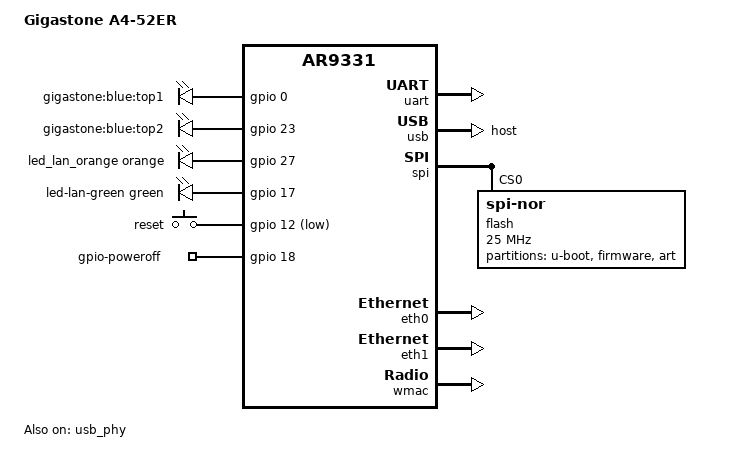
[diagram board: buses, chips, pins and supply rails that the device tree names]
// SPDX-License-Identifier: GPL-2.0-only
/dts-v1/;

#include "ar9331.dtsi"

#include <dt-bindings/gpio/gpio.h>
#include <dt-bindings/input/input.h>
#include <dt-bindings/leds/common.h>

/ {
	model = "Gigastone A4-52ER";
	compatible = "gigastone,a4-52er", "qca,ar9331";

	aliases {
		serial0 = &uart;
		led-boot = &system;
		led-failsafe = &system;
		led-running = &system;
		led-upgrade = &system;
		label-mac-device = &eth0;
	};

	/*
	 * E2-quiet experiment (2026-07-11) CONCLUDED: console=null image still
	 * died in the cold-boot retry loop -> kernel console activity is NOT the
	 * power-latch trigger (death happens <1s into U-Boot, long before the
	 * kernel). Serial console restored for USB-TTL debugging.
	 */

	/*
	 * GPIO0/23 polarity boot-verified 2026-07-11 (blue2 blinks as led-boot,
	 * steady when running). GPIO17/27 are the RJ45 jack LEDs.
	 * 2026-07-23 live-verified on hardware: both jack LEDs are ACTIVE_HIGH
	 * (brightness=1 under the old active-low modelling turned them OFF) —
	 * the earlier "pepe2k LED_ACT_L" assumption was wrong. Modern
	 * color/function naming (sysfs green:lan / orange:lan) so the
	 * 04_led_migration prefix-strip (remove_devicename_leds) matches the
	 * 01_leds trigger config. Triggers bind to eth1 (physical jack; its
	 * carrier follows the cable — eth0 is the always-up CPU/switch link,
	 * and br-lan inherits that, which is why br-lan binding never went off).
	 */
	leds {
		compatible = "gpio-leds";

		blue1 {
			label = "gigastone:blue:top1";
			gpios = <&gpio 0 GPIO_ACTIVE_HIGH>;
		};

		system: blue2 {
			label = "gigastone:blue:top2";
			gpios = <&gpio 23 GPIO_ACTIVE_HIGH>;
		};

		led_lan_orange: led-lan-orange {
			color = <LED_COLOR_ID_ORANGE>;
			function = LED_FUNCTION_LAN;
			gpios = <&gpio 27 GPIO_ACTIVE_HIGH>;
		};

		led-lan-green {
			color = <LED_COLOR_ID_GREEN>;
			function = LED_FUNCTION_LAN;
			gpios = <&gpio 17 GPIO_ACTIVE_HIGH>;
		};
	};

	keys {
		compatible = "gpio-keys";

		button0 {
			label = "reset";
			linux,code = <KEY_RESTART>;
			gpios = <&gpio 12 GPIO_ACTIVE_LOW>;
			debounce-interval = <60>;
		};
	};

	/*
	 * GPIO18 = power-MCU line, polarity live-verified 2026-07-11 via sysfs:
	 * LOW = keep-alive (mandatory; the MCU cuts power ~1s after cold
	 * power-on otherwise), HIGH = immediate power-off. U-Boot asserts it LOW
	 * at init (pepe2k OUT_INIT_L patch); this node makes the kernel claim it
	 * output-low too and gives userspace a working `poweroff`.
	 */
	gpio-poweroff {
		compatible = "gpio-poweroff";
		gpios = <&gpio 18 GPIO_ACTIVE_HIGH>;
	};
};

&ref {
	clock-frequency = <25000000>;
};

&uart {
	status = "okay";
};

&gpio {
	status = "okay";
};

&usb {
	dr_mode = "host";
	status = "okay";
};

&usb_phy {
	status = "okay";
};

&spi {
	num-chipselects = <1>;
	status = "okay";

	/*
	 * Spansion S25FL032PIF-class SPI NOR, 8 MiB total.
	 * 2026-07-11: 104MHz (MadnessASAP guess, never boot-proven) is far above
	 * every shipping AR9331 board (AR150/carambola2 50MHz, USB150 33MHz) and
	 * is the prime suspect for the Linux-side flash probe failing (no mtd →
	 * eth0 nvmem MAC cell defers forever → no network). 25MHz = safest value.
	 */
	flash@0 {
		compatible = "jedec,spi-nor";
		spi-max-frequency = <25000000>;
		reg = <0>;

		/*
		 * pepe2k U-Boot standard OpenWrt layout (3 partitions):
		 *   u-boot    0x000000  0x020000  (128K: code 123K + env @0x1ec00 + MAC @0x1fc00)
		 *   firmware  0x020000  0x7d0000  (8000K, kernel+rootfs merged)
		 *   art       0x7f0000  0x010000  (64K, WiFi calibration + MAC, read-only)
		 */
		partitions {
			compatible = "fixed-partitions";
			#address-cells = <1>;
			#size-cells = <1>;

			/*
			 * 2026-07-12: read-only TEMPORARILY dropped so a running
			 * system can rewrite mtd0 (escape hatch while iterating on
			 * the pepe2k power-latch fix, in case the recovery button
			 * path ever breaks). Re-add once the cold-boot fix lands.
			 */
			uboot: partition@0 {
				label = "u-boot";
				reg = <0x000000 0x020000>;
			};

			partition@20000 {
				compatible = "denx,uimage";
				label = "firmware";
				reg = <0x020000 0x7d0000>;
			};

			art: partition@7f0000 {
				label = "art";
				reg = <0x7f0000 0x010000>;
				read-only;

				nvmem-layout {
					compatible = "fixed-layout";
					#address-cells = <1>;
					#size-cells = <1>;

					/* factory label MAC really lives here on this board */
					macaddr_art_1002: macaddr@1002 {
						reg = <0x1002 0x6>;
					};

					cal_art_1000: calibration@1000 {
						reg = <0x1000 0x440>;
					};
				};
			};
		};
	};
};

/*
 * Ethernet blocks copied verbatim from ar9330_glinet_gl-ar150.dts (25.12.5),
 * which was live-verified to bring the A4-52ER wired port up (eth0, DHCP seen
 * on the wire, 2026-07-11). Only the nvmem MAC source differs (art@0x1002).
 * The previous MadnessASAP-era idiom (gmac-config under eth0 + eth1 syscon
 * override) never produced any link/traffic on this board.
 */
&eth0 {
	status = "okay";

	nvmem-cells = <&macaddr_art_1002>;
	nvmem-cell-names = "mac-address";
};

&eth1 {
	status = "okay";

	nvmem-cells = <&macaddr_art_1002>;
	nvmem-cell-names = "mac-address";

	gmac-config {
		device = <&gmac>;

		switch-phy-addr-swap = <0>;
		switch-phy-swap = <0>;
	};
};

&wmac {
	status = "okay";

	nvmem-cells = <&macaddr_art_1002>, <&cal_art_1000>;
	nvmem-cell-names = "mac-address", "calibration";
};
